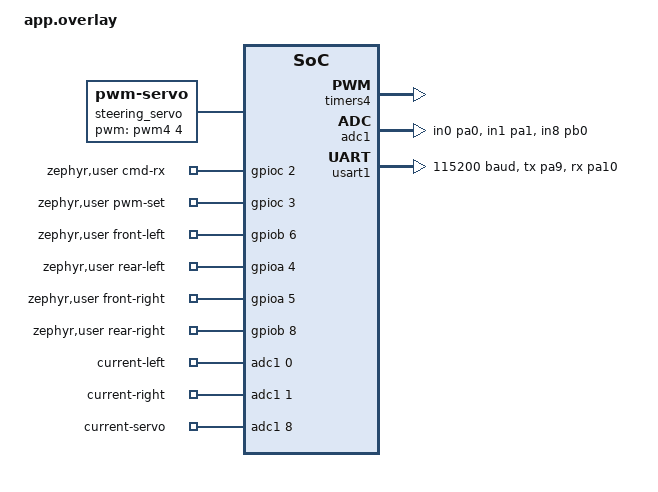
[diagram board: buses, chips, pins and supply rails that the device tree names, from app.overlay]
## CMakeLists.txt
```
cmake_minimum_required(VERSION 3.28.0)
find_package(Zephyr REQUIRED HINTS $ENV{ZEPHYR_BASE})
project(lab2_integration)

# Embed the same tracked calibration used by the optional USB calibration console.
set(servo_calibration "${CMAKE_CURRENT_SOURCE_DIR}/../config/servo_calibration.json")
set_property(DIRECTORY APPEND PROPERTY CMAKE_CONFIGURE_DEPENDS "${servo_calibration}")
file(READ "${servo_calibration}" servo_json)
string(JSON servo_period GET "${servo_json}" period_us)
if(NOT servo_period EQUAL 20000)
    message(FATAL_ERROR "Steering calibration requires a 20000 us period")
endif()
foreach(point LEFT CENTER RIGHT)
    string(TOLOWER "${point}" key)
    string(JSON SERVO_${point}_US GET "${servo_json}" "${key}_us")
    if(NOT "${SERVO_${point}_US}" MATCHES "^[0-9]+$" OR
       SERVO_${point}_US LESS 500 OR SERVO_${point}_US GREATER 2500)
        message(FATAL_ERROR "Invalid ${key} servo calibration pulse")
    endif()
endforeach()
if(NOT ((SERVO_LEFT_US LESS SERVO_CENTER_US AND SERVO_CENTER_US LESS SERVO_RIGHT_US) OR
        (SERVO_LEFT_US GREATER SERVO_CENTER_US AND SERVO_CENTER_US GREATER SERVO_RIGHT_US)))
    message(FATAL_ERROR "Servo center must be strictly between its endpoints")
endif()
configure_file(src/servo_calibration.h.in generated/servo_calibration.h @ONLY)
target_include_directories(app PRIVATE "${CMAKE_CURRENT_BINARY_DIR}/generated")
target_sources(app PRIVATE src/main.c src/throttle_mapping.c src/drive_control.c src/motor_driver.c
    src/actuator_policy.c src/blinker_core.c src/blinker_gpio.c src/self_test.c
    src/servo_core.c src/servo_bench.c
    src/timing_trace.c src/current_cache.c src/current_sense.c src/current_backend.c
    ../bringup/motor_test/src/bench_encoders.c ../bringup/motor_test/src/velocity_control.c)
target_include_directories(app PRIVATE ../bringup/motor_test/src)
```

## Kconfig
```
mainmenu "Lab 2 integrated controller"
source "Kconfig.zephyr"

config LAB_TIMING_GPIO
    bool "CMD_RX and PWM_SET timing markers on PC2/PC3"
    default y
    help
      Reserve Morpho CN7 pins 35 and 37 for scope markers. No actuator wires
      belong on these pins. Disable only if the team reallocates these pins.

config LAB_CURRENT_SAMPLE_MS
    int "Current backend sampling period (ms)"
    default 20
    range 1 1000

config LAB_CURRENT_CHANNEL_MASK
    int "Connected current sensors: left=1, right=2, servo=4"
    default 7
    range 0 7
    help
      The three-sensor setup uses left, right and servo (7). Use 5 for the
      earlier left/servo-only setup. Zero skips acquisition for A/B diagnosis;
      it does not change actuator policy. Missing inputs are unavailable.

config LAB_PERIODIC_DIAGNOSTICS
    bool "Periodic USB diagnostics (disable for a logging isolation test)"
    default y

config LAB_CURRENT_MAX_AGE_MS
    int "Maximum age of a valid current sample (ms)"
    default 100
    range 1 10000
    help
      Telemetry freshness policy, not a motor cutoff. Acquisition time counts
      toward age; stale or failed readings are unavailable in status frames.

menu "ACS712 5A calibration (direct ADC connection)"
comment "Defaults are vendor nominal values, not measured board calibration"

config LAB_CURRENT_LEFT_ZERO_MV
    int "Left zero-current sensor output (mV)"
    default 2500
    range 1 3299

config LAB_CURRENT_RIGHT_ZERO_MV
    int "Right zero-current sensor output (mV)"
    default 2500
    range 1 3299

config LAB_CURRENT_SERVO_ZERO_MV
    int "Servo zero-current sensor output (mV)"
    default 2500
    range 1 3299

config LAB_CURRENT_LEFT_SENSITIVITY
    int "Left sensitivity (mV/A)"
    default 185
    range 1 1000

config LAB_CURRENT_RIGHT_SENSITIVITY
    int "Right sensitivity (mV/A)"
    default 185
    range 1 1000

config LAB_CURRENT_SERVO_SENSITIVITY
    int "Servo sensitivity (mV/A)"
    default 185
    range 1 1000

endmenu
```

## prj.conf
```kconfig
CONFIG_SERIAL=y
CONFIG_UART_INTERRUPT_DRIVEN=y
CONFIG_CONSOLE=y
CONFIG_UART_CONSOLE=y
CONFIG_PRINTK=y
# Console polling remains preemptible; never lock interrupts for a whole line.
CONFIG_PRINTK_SYNC=n
CONFIG_GPIO=y
CONFIG_CRC=y
CONFIG_MAIN_STACK_SIZE=3072
CONFIG_MAIN_THREAD_PRIORITY=1
CONFIG_SYS_CLOCK_TICKS_PER_SEC=1000
CONFIG_ASSERT=y
CONFIG_PWM=y
CONFIG_FPU=y
CONFIG_FPU_SHARING=y
CONFIG_I2C=n
CONFIG_SPI=n
CONFIG_ADC=y
CONFIG_INPUT=n
```

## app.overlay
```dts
/* Reuse the verified motor/encoder pins and 10 kHz timers. Override the bench's
 * disabled USART1 below; USART2 remains the ST-LINK USB diagnostic console. */
#include "../bringup/motor_test/app.overlay"

/* USART1 is the Pi link. USART2 remains the ST-LINK USB console. */
#include <zephyr/dt-bindings/gpio/gpio.h>
#include <zephyr/dt-bindings/pwm/pwm.h>

/ {
    steering_servo: steering-servo {
        compatible = "pwm-servo";
        pwms = <&pwm4 4 PWM_MSEC(20) PWM_POLARITY_NORMAL>;
        min-pulse = <PWM_USEC(500)>;
        max-pulse = <PWM_USEC(2500)>;
    };
    zephyr,user {
        io-channels = <&adc1 0>, <&adc1 1>, <&adc1 8>;
        io-channel-names = "current-left", "current-right", "current-servo";
        cmd-rx-gpios = <&gpioc 2 GPIO_ACTIVE_HIGH>;
        pwm-set-gpios = <&gpioc 3 GPIO_ACTIVE_HIGH>;
        front-left-gpios = <&gpiob 6 GPIO_ACTIVE_HIGH>;
        rear-left-gpios = <&gpioa 4 GPIO_ACTIVE_HIGH>;
        front-right-gpios = <&gpioa 5 GPIO_ACTIVE_HIGH>;
        rear-right-gpios = <&gpiob 8 GPIO_ACTIVE_HIGH>;
    };
};

/* Motor overlay routes TIM2 PWM to PB10, freeing PA5 for the right blinker.
 * Keep pwm2 enabled: disabling it here would remove the right motor driver. */
&i2c1 { status = "disabled"; };
&spi1 { status = "disabled"; };

/* APB1 timer clock 84 MHz / (83 + 1) = 1 MHz: 1 us ticks. */
&timers4 {
    status = "okay";
    st,prescaler = <83>;
    pwm4: pwm {
        status = "okay";
        pinctrl-0 = <&tim4_ch4_pb9>;
        pinctrl-names = "default";
    };
};

/* Direct ACS712 outputs: A0/PA0, A1/PA1, A3/PB0. VDDA is nominally 3.3 V.
 * APB2 is 84 MHz; /4 gives 21 MHz, within the F401 ADC's 36 MHz maximum. */
&adc1 {
    status = "okay";
    pinctrl-0 = <&adc1_in0_pa0 &adc1_in1_pa1 &adc1_in8_pb0>;
    pinctrl-names = "default";
    st,adc-prescaler = <4>;
    vref-mv = <3300>;
};

&usart1 {
    pinctrl-0 = <&usart1_tx_pa9 &usart1_rx_pa10>;
    pinctrl-names = "default";
    current-speed = <115200>;
    status = "okay";
};
```

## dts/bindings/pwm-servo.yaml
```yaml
# Adapted from Zephyr samples/basic/servo_motor/dts/bindings/pwm-servo.yaml
# Copyright (c) 2022 Nordic Semiconductor ASA
# SPDX-License-Identifier: Apache-2.0
description: PWM-driven servo motor.
compatible: "pwm-servo"
include: base.yaml
properties:
  pwms:
    required: true
    type: phandle-array
    description: PWM specifier driving the servo motor.
  min-pulse:
    required: true
    type: int
    description: Manufacturer minimum pulse width in nanoseconds, not calibrated travel.
  max-pulse:
    required: true
    type: int
    description: Manufacturer maximum pulse width in nanoseconds, not calibrated travel.
```

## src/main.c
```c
/* CRC Pi link, encoder/PID motors, blinkers/self-test and centered-start steering. */
#include <zephyr/kernel.h>
#include <zephyr/device.h>
#include <zephyr/drivers/uart.h>
#include <zephyr/drivers/gpio.h>
#include <zephyr/sys/byteorder.h>
#include <zephyr/sys/crc.h>
#include <zephyr/sys/atomic.h>
#include <string.h>
#include <stdint.h>
#include "throttle_mapping.h"
#include "motor_driver.h"
#include "actuator_policy.h"
#include "blinker_core.h"
#include "blinker_gpio.h"
#include "self_test.h"
#include "servo_bench.h"
#include "schedule.h"
#include "timing_trace.h"
#include "current_sense.h"

#define COMMAND_SIZE 28
#define STATUS_SIZE 56
static const char *const state_names[] = {
	"WAITING", "LINK_OK", "ERROR_TIMEOUT", "ERROR_BAD_INPUT", "ERROR_RX_OVERFLOW",
	"ERROR_MOTOR", "SELF_TEST", "ERROR_ACTUATOR"
};
BUILD_ASSERT(CONFIG_MAIN_THREAD_PRIORITY >= 0 &&
             CONFIG_MAIN_THREAD_PRIORITY < LAB_STATUS_PRIORITY &&
             LAB_STATUS_PRIORITY < LAB_CURRENT_PRIORITY &&
             LAB_CURRENT_PRIORITY < LAB_CONSOLE_PRIORITY,
             "Link/motor owner must outrank status and console threads");
BUILD_ASSERT(!IS_ENABLED(CONFIG_PRINTK_SYNC), "Console output must remain interruptible");
static const struct device *const link_uart = DEVICE_DT_GET(DT_NODELABEL(usart1));
/* PA5/D13 (including onboard LD2) belongs only to the front-right blinker. */
static struct blinker blink;
static struct self_test self_test;
struct packet { uint8_t bytes[COMMAND_SIZE]; uint32_t received_ms; };
K_MSGQ_DEFINE(rx_queue, sizeof(struct packet), 8, 4);
K_MUTEX_DEFINE(state_mutex);
K_SEM_DEFINE(status_due, 0, 1);
K_SEM_DEFINE(console_ready, 0, 1);
static atomic_t overflow;
static struct {
	uint32_t state, command_seq, received_ms, rejected;
	int32_t steer, throttle, brake;
	uint32_t buttons, target_mrpm;
	struct motor_report motor;
	bool ever_received;
	bool actuator_fault;
	int servo_error, lamp_error;
	enum blink_mode blink_mode;
	bool blink_left, blink_right;
	uint32_t timeouts, bad_inputs, rx_overflows, max_rx_gap_ms, max_owner_gap_ms;
	uint16_t servo_pulse;
	unsigned servo_mode;
} state = { .state = WAITING, .throttle = 32767, .brake = -32768 };

/* Caller holds state_mutex; all actuator decisions share this policy. */
static struct actuator_policy current_policy(void)
{
	return actuator_policy_evaluate(state.state, state.motor.fault != 0,
		state.actuator_fault, self_test.active, state.brake, state.target_mrpm);
}

static bool header_ok(const uint8_t *b)
{
	return b[0] == 'L' && b[1] == '2' && b[2] == 1 && b[3] == 1;
}

/* ISR only collects fixed-size candidates. CRC/range checks run in main. */
static void rx_callback(const struct device *dev, void *unused)
{
	static struct packet candidate;
	static size_t used;
	uint8_t byte;
	ARG_UNUSED(unused);
	uart_irq_update(dev);
	if (uart_irq_rx_ready(dev) <= 0) {
		return;
	}
	while (uart_fifo_read(dev, &byte, 1) == 1) {
		candidate.bytes[used++] = byte;
		if (used >= 4 && !header_ok(candidate.bytes)) {
			memmove(candidate.bytes, candidate.bytes + 1, --used);
		}
		if (used == COMMAND_SIZE) {
			candidate.received_ms = k_uptime_get_32();
			timing_trace_command(); /* Includes queue delay + validation in scope interval. */
			if (k_msgq_put(&rx_queue, &candidate, K_NO_WAIT) != 0) {
				/* Drop the backlog, never apply queued stale throttle later. */
				k_msgq_purge(&rx_queue);
				atomic_set(&overflow, 1);
			}
			used = 0;
		}
	}
}

static void set_error(uint32_t reason)
{
	if (reason == TIMEOUT && state.state != TIMEOUT) state.timeouts++;
	if (reason == BAD_INPUT) state.bad_inputs++;
	if (reason == RX_OVERFLOW) state.rx_overflows++;
	state.state = reason;
	state.steer = 0;
	state.throttle = 32767; /* Released pedal in this Windows mapping. */
	state.brake = -32768;  /* Link/input errors request dynamic braking. */
	state.buttons = 0;
	state.target_mrpm = 0;
}

static void accept_candidate(const struct packet *p)
{
	const uint8_t *b = p->bytes;
	int32_t steer = (int32_t)sys_get_le32(b + 8);
	int32_t throttle = (int32_t)sys_get_le32(b + 12);
	int32_t brake = (int32_t)sys_get_le32(b + 16);
	uint32_t buttons = sys_get_le32(b + 20);
	uint32_t seq = sys_get_le32(b + 4);
	bool fresh = !lab_link_expired(k_uptime_get_32(), p->received_ms);
	bool valid = crc32_ieee(b, 24) == sys_get_le32(b + 24) &&
		steer >= -32768 && steer <= 32767 &&
		throttle >= -32768 && throttle <= 32767 &&
		brake >= -32768 && brake <= 32767 && (buttons & ~0x7ffU) == 0;

	k_mutex_lock(&state_mutex, K_FOREVER);
	if (!fresh) {
		state.rejected++;
		set_error(TIMEOUT);
	} else if (!valid) {
		state.rejected++;
		set_error(BAD_INPUT);
	} else if (!state.ever_received || state.state != LINK_OK ||
		   (seq - state.command_seq > 0U && seq - state.command_seq < 0x80000000U)) {
		state.steer = steer;
		state.throttle = throttle;
		state.brake = brake;
		state.buttons = buttons;
		/* Any brake input overrides throttle, including its startup request. */
		state.target_mrpm = pedal_target_mrpm(throttle, brake);
		state.command_seq = seq;
		if (state.ever_received) {
			uint32_t gap = p->received_ms - state.received_ms;
			if (gap > state.max_rx_gap_ms) state.max_rx_gap_ms = gap;
		}
		state.received_ms = p->received_ms;
		state.ever_received = true;
		state.state = LINK_OK;
		self_test_input(&self_test, k_uptime_get(), buttons);
	}
	/* Duplicate/old sequences while linked do not refresh the timeout. */
	k_mutex_unlock(&state_mutex);
}

static void status_tick(struct k_timer *timer)
{
	ARG_UNUSED(timer);
	k_sem_give(&status_due);
}
K_TIMER_DEFINE(status_timer, status_tick, NULL);

static void status_thread(void *a, void *b, void *c)
{
	uint32_t seq = 0;
	uint8_t frame[STATUS_SIZE];
	ARG_UNUSED(a); ARG_UNUSED(b); ARG_UNUSED(c);
	while (true) {
		k_sem_take(&status_due, K_FOREVER);
		memset(frame, 0, sizeof(frame));
		frame[0] = 'L'; frame[1] = '2'; frame[2] = 1; frame[3] = 2;
		sys_put_le32(seq++, frame + 4);
		sys_put_le32(k_uptime_get_32(), frame + 8);
		k_mutex_lock(&state_mutex, K_FOREVER);
		sys_put_le32(state.command_seq, frame + 12);
		sys_put_le32(current_policy().reported_state, frame + 16);
		sys_put_le32((uint32_t)state.steer, frame + 20);
		sys_put_le32((uint32_t)state.throttle, frame + 24);
		sys_put_le32((uint32_t)state.brake, frame + 28);
		sys_put_le32(state.rejected, frame + 48);
		k_mutex_unlock(&state_mutex);
		/* Snapshot only: acquisition waits run in a lower-priority thread. */
		struct current_sample currents = current_sense_snapshot();
		for (unsigned i = 0; i < CURRENT_CHANNELS; i++)
			sys_put_le32((uint32_t)currents.ma[i], frame + 32 + 4 * i);
		sys_put_le32(currents.valid_mask, frame + 44);
		sys_put_le32(crc32_ieee(frame, 52), frame + 52);
		for (size_t i = 0; i < sizeof(frame); ++i) {
			uart_poll_out(link_uart, frame[i]);
		}
	}
}
K_THREAD_DEFINE(status_tid, 1536, status_thread, NULL, NULL, NULL, LAB_STATUS_PRIORITY, 0, 0);

static void console_thread(void *a, void *b, void *c)
{
	ARG_UNUSED(a); ARG_UNUSED(b); ARG_UNUSED(c);
	k_sem_take(&console_ready, K_FOREVER);
	printk("LAB2 INTEGRATION: Pi UART PA9/PA10 115200; motors + blinkers + Pi-controlled servo.\n");
	printk("Servo D14 waits for healthy link + centered wheel; no USB required. A=self-test; B1=latch coast.\n");
	printk("1320 counts/rev; 23..300 RPM; startup 60%%/200ms; PID 40..100%%. ACS712 currents active.\n");
	printk("CURRENT direct A0/A1/A3; 12-bit ADC; nominal calibration unless overridden; upper rail -4320mA motors/+4320mA servo.\n");
	printk("TRACE enabled=%u CMD_RX=PC2/CN7-35 PWM_SET=PC3/CN7-37; errors invalidate capture.\n",
	       IS_ENABLED(CONFIG_LAB_TIMING_GPIO));
	int64_t next_diagnostic_ms = 0;
	while (true) {
		servo_bench_print_replies();
		if (!IS_ENABLED(CONFIG_LAB_PERIODIC_DIAGNOSTICS)) {
			k_msleep(LAB_CONSOLE_POLL_MS);
			continue;
		}
		if (k_uptime_get() < next_diagnostic_ms) {
			k_msleep(LAB_CONSOLE_POLL_MS);
			continue;
		}
		next_diagnostic_ms = k_uptime_get() + LAB_DIAGNOSTIC_PERIOD_MS;
		k_mutex_lock(&state_mutex, K_FOREVER);
		uint32_t mode = current_policy().reported_state, seq = state.command_seq, bad = state.rejected;
		uint32_t age = state.ever_received ? k_uptime_get_32() - state.received_ms : 0;
		int32_t steer = state.steer, throttle = state.throttle, brake = state.brake;
		uint32_t target = state.target_mrpm;
		struct motor_report motor = state.motor;
		enum blink_mode blink_mode = state.blink_mode;
		bool left = state.blink_left, right = state.blink_right;
		int servo_error = state.servo_error, lamp_error = state.lamp_error;
		uint32_t timeouts = state.timeouts, bad_inputs = state.bad_inputs;
		uint32_t rx_overflows = state.rx_overflows, rx_gap = state.max_rx_gap_ms;
		uint32_t owner_gap = state.max_owner_gap_ms;
		unsigned servo_mode = state.servo_mode, servo_pulse = state.servo_pulse;
		k_mutex_unlock(&state_mutex);
		printk("STM %s seq=%u steer=%d thr=%d brk=%d target_mrpm=%u age=%ums rejected=%u blink=%s L=%u R=%u\n",
		       state_names[mode], seq, steer, throttle, brake, target, age, bad,
		       blinker_mode_name(blink_mode), left, right);
		printk("DRIVE mode=%u target_mrpm=%u left_mrpm=%d right_mrpm=%d avg_mrpm=%d "
		       "duty_mpercent=%u left_count=%d right_count=%d t_ms=%lld fault=%d\n",
		       (unsigned)motor.mode, motor.target_mrpm, motor.left_mrpm, motor.right_mrpm,
		       motor.average_mrpm, motor.duty_mpercent, motor.left_count, motor.right_count,
		       (long long)motor.sample_ms, motor.fault);
		struct current_sample currents = current_sense_snapshot();
		printk("CURRENT left_ma=%d right_ma=%d servo_ma=%d valid=%u age_ms=%u error=%d\n",
		       currents.ma[0], currents.ma[1], currents.ma[2], currents.valid_mask,
		       k_uptime_get_32() - currents.sampled_ms, currents.error);
		printk("DIAG trace_errors=%u servo_error=%d lamp_error=%d servo_mode=%u pulse_us=%u "
		       "timeouts=%u bad_inputs=%u rx_overflows=%u max_rx_gap_ms=%u max_owner_gap_ms=%u\n",
		       timing_trace_errors(), servo_error, lamp_error, servo_mode, servo_pulse,
		       timeouts, bad_inputs, rx_overflows, rx_gap, owner_gap);
		k_msleep(LAB_CONSOLE_POLL_MS);
	}
}
K_THREAD_DEFINE(console_tid, 1536, console_thread, NULL, NULL, NULL, LAB_CONSOLE_PRIORITY, 0, 0);

/* Returning from main must never leave enabled bridges without a B1 owner. */
static void stop_on_init_failure(void)
{
	struct motor_report report = motor_update((struct drive_input){.sensor_fault = true});
	k_mutex_lock(&state_mutex, K_FOREVER);
	state.motor = report;
	set_error(MOTOR_FAULT);
	k_mutex_unlock(&state_mutex);
}

int main(void)
{
	/* Marker failure is diagnostic only; it must not change actuator policy. */
	(void)timing_trace_init();
	/* Initialize outputs first. Until the first valid command, request braking. */
	int motor_error = motor_init();
	struct motor_report initial = motor_update((struct drive_input){0});
	k_mutex_lock(&state_mutex, K_FOREVER);
	state.motor = initial;
	if (motor_error || initial.fault) { set_error(MOTOR_FAULT); }
	k_mutex_unlock(&state_mutex);
	if (!device_is_ready(link_uart)) {
		stop_on_init_failure();
		printk("ERROR: UART unavailable\n");
		return 1;
	}
	if (blinker_gpio_init() != 0 || servo_bench_init() != 0 ||
	    uart_irq_callback_user_data_set(link_uart, rx_callback, NULL) != 0) {
		stop_on_init_failure();
		servo_bench_off();
		printk("ERROR: device configuration failed\n");
		return 1;
	}
	blinker_reset(&blink);
	self_test_reset(&self_test);
	current_sense_start();
	uart_irq_rx_enable(link_uart);
	k_timer_start(&status_timer, K_MSEC(LAB_STATUS_PERIOD_MS), K_MSEC(LAB_STATUS_PERIOD_MS));
	k_sem_give(&console_ready);
	uint32_t last_owner_ms = k_uptime_get_32();
	while (true) {
		struct packet p;
		if (k_msgq_get(&rx_queue, &p, K_MSEC(LAB_OWNER_WAIT_MS)) == 0) {
			accept_candidate(&p);
		}
		k_mutex_lock(&state_mutex, K_FOREVER);
		uint32_t now_owner_ms = k_uptime_get_32();
		uint32_t owner_gap = now_owner_ms - last_owner_ms;
		last_owner_ms = now_owner_ms;
		if (owner_gap > state.max_owner_gap_ms) state.max_owner_gap_ms = owner_gap;
		if (atomic_set(&overflow, 0) != 0) {
			state.rejected++;
			set_error(RX_OVERFLOW);
		}
		if (state.state == LINK_OK &&
		    lab_link_expired(k_uptime_get_32(), state.received_ms)) {
			set_error(TIMEOUT);
		}
		struct actuator_policy policy = current_policy();
		k_mutex_unlock(&state_mutex);
		/* This priority-1 thread owns validation, timeout and all motor writes.
		 * Apply motor stop decisions before processing potentially slow USB replies. */
		struct motor_report report = motor_update(policy.drive);
		k_mutex_lock(&state_mutex, K_FOREVER);
		state.motor = report;
		policy = current_policy(); /* Propagate a newly sampled B1/motor fault now. */
		int32_t steer = state.steer;
		uint32_t buttons = state.buttons;
		bool actuator_fault = state.actuator_fault;
		k_mutex_unlock(&state_mutex);
		int servo_error = 0;
		if (!actuator_fault) {
			servo_error = servo_bench_service(policy.linked, policy.inhibit_servo, steer);
		}
		struct blink_output output = blinker_step(&blink, k_uptime_get(),
			policy.linked, policy.hazards || servo_error != 0, buttons, steer);
		int lamp_error = blinker_gpio_write(output);
		if (servo_error || lamp_error) {
			/* Latch peripheral failures. A healthy H-bridge dynamically brakes;
			 * its own B1/HAL fault still retains the existing enable-low policy. */
			servo_bench_off();
			k_mutex_lock(&state_mutex, K_FOREVER);
			state.actuator_fault = true;
			state.servo_error = servo_error;
			state.lamp_error = lamp_error;
			policy = current_policy();
			k_mutex_unlock(&state_mutex);
			report = motor_update(policy.drive);
		}
		k_mutex_lock(&state_mutex, K_FOREVER);
		state.motor = report;
		state.blink_mode = blink.mode;
		struct servo_control servo_snapshot = servo_bench_snapshot();
		state.servo_mode = servo_snapshot.mode;
		state.servo_pulse = servo_snapshot.pulse;
		state.blink_left = output.left;
		state.blink_right = output.right;
		k_mutex_unlock(&state_mutex);
	}
}
```

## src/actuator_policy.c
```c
#include "actuator_policy.h"

struct actuator_policy actuator_policy_evaluate(enum vehicle_state link_state,
    bool motor_fault, bool actuator_fault, bool self_test, int32_t brake,
    uint32_t target_mrpm)
{
    bool linked = link_state == LINK_OK && !motor_fault && !actuator_fault;
    return (struct actuator_policy){
        .reported_state = motor_fault ? MOTOR_FAULT : actuator_fault ? ACTUATOR_FAULT :
            link_state != LINK_OK ? link_state : self_test ? SELF_TEST : LINK_OK,
        .drive = {
            .linked = linked,
            .brake = self_test || brake != 32767,
            .target_mrpm = linked && !self_test && brake == 32767 ? target_mrpm : 0,
        },
        .linked = linked,
        /* Manual bench calibration can still run without a Pi; LIVE cannot. */
        .inhibit_servo = motor_fault || actuator_fault || self_test,
        .hazards = !linked || self_test,
    };
}
```

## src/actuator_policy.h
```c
#ifndef ACTUATOR_POLICY_H
#define ACTUATOR_POLICY_H
#include "drive_control.h"

/* Preserve main's wire values; the steering bench previously used 5 for self-test. */
enum vehicle_state {
    WAITING = 0, LINK_OK = 1, TIMEOUT = 2, BAD_INPUT = 3, RX_OVERFLOW = 4,
    MOTOR_FAULT = 5, SELF_TEST = 6, ACTUATOR_FAULT = 7
};

struct actuator_policy {
    enum vehicle_state reported_state;
    struct drive_input drive;
    bool linked;
    bool inhibit_servo;
    bool hazards;
};

struct actuator_policy actuator_policy_evaluate(enum vehicle_state link_state,
    bool motor_fault, bool actuator_fault, bool self_test, int32_t brake,
    uint32_t target_mrpm);
#endif
```

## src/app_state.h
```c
#ifndef APP_STATE_H
#define APP_STATE_H

#include <stdint.h>
#include <stdbool.h>

/* Shared state between UART reception and the control tasks.
 * TODO: replace this simple example with a Zephyr mutex/message queue if
 * multiple fields can be updated/read concurrently on your final design. */
typedef struct {
    int16_t steering;
    int16_t throttle;
    int16_t brake;
    uint32_t buttons;
    uint16_t sequence;
    bool valid;
} command_state_t;

typedef enum {
    SYSTEM_ERROR = 0,
    SYSTEM_NORMAL = 1,
} system_state_t;

#endif
```

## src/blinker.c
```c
#include "blinker.h"
#include <zephyr/kernel.h>
#include <zephyr/drivers/gpio.h>

/* TODO: Replace aliases with your four LED GPIOs. */
static const struct gpio_dt_spec fl = GPIO_DT_SPEC_GET(DT_ALIAS(blinker_fl), gpios);
static const struct gpio_dt_spec fr = GPIO_DT_SPEC_GET(DT_ALIAS(blinker_fr), gpios);
static const struct gpio_dt_spec rl = GPIO_DT_SPEC_GET(DT_ALIAS(blinker_rl), gpios);
static const struct gpio_dt_spec rr = GPIO_DT_SPEC_GET(DT_ALIAS(blinker_rr), gpios);

/* TODO: Replace with the button indices recorded in Part 1. */
#define LEFT_BUTTON 0
#define RIGHT_BUTTON 1
/* TODO: Use your team-defined steering turn threshold. */
#define TURN_THRESHOLD 30

static enum { OFF, LEFT, RIGHT } active = OFF;
static int crossed_threshold;
static int last_steering;
static uint32_t last_buttons;
static bool phase;
static int64_t last_toggle_ms;

static void outputs(bool left_on, bool right_on) {
    gpio_pin_set_dt(&fl, left_on); gpio_pin_set_dt(&rl, left_on);
    gpio_pin_set_dt(&fr, right_on); gpio_pin_set_dt(&rr, right_on);
}

void blinker_init(void) {
    gpio_pin_configure_dt(&fl, GPIO_OUTPUT_INACTIVE); gpio_pin_configure_dt(&fr, GPIO_OUTPUT_INACTIVE);
    gpio_pin_configure_dt(&rl, GPIO_OUTPUT_INACTIVE); gpio_pin_configure_dt(&rr, GPIO_OUTPUT_INACTIVE);
    outputs(false, false);
    last_toggle_ms = k_uptime_get();
}

void blinker_update(int16_t steering, uint32_t buttons, int error_state) {
    int64_t now = k_uptime_get();
    if (error_state) {
        /* Error state: all four flash at 2 Hz, 50% duty. */
        if (now - last_toggle_ms >= 250) { phase = !phase; last_toggle_ms = now; }
        outputs(phase, phase);
        return;
    }

    bool left_pressed = (buttons & (1u << LEFT_BUTTON)) && !(last_buttons & (1u << LEFT_BUTTON));
    bool right_pressed = (buttons & (1u << RIGHT_BUTTON)) && !(last_buttons & (1u << RIGHT_BUTTON));
    if (left_pressed) active = LEFT;
    if (right_pressed) active = RIGHT;
    if (left_pressed && right_pressed) active = OFF;

    /* Self-cancel: pass the turn threshold, then return back past it. */
    if (active == LEFT && steering < -TURN_THRESHOLD) crossed_threshold = 1;
    if (active == RIGHT && steering > TURN_THRESHOLD) crossed_threshold = 1;
    if (active == LEFT && crossed_threshold && steering >= -TURN_THRESHOLD) { active = OFF; crossed_threshold = 0; }
    if (active == RIGHT && crossed_threshold && steering <= TURN_THRESHOLD) { active = OFF; crossed_threshold = 0; }

    /* Normal blinkers: 1 Hz, 50% duty => toggle every 500 ms. */
    if (now - last_toggle_ms >= 500) { phase = !phase; last_toggle_ms = now; }
    outputs(active == LEFT && phase, active == RIGHT && phase);
    last_steering = steering;
    last_buttons = buttons;
}
```

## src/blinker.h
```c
#ifndef BLINKER_H
#define BLINKER_H
#include <stdint.h>
void blinker_init(void);
void blinker_update(int16_t steering, uint32_t buttons, int error_state);
#endif
```

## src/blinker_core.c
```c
#include "blinker_core.h"

void blinker_reset(struct blinker *b)
{
	*b = (struct blinker){0};
}

static void select_mode(struct blinker *b, enum blink_mode mode, uint64_t now)
{
	b->mode = mode;
	b->epoch_ms = now;
	b->crossed_turn = false;
}

struct blink_output blinker_step(struct blinker *b, uint64_t now,
	bool ready, bool fault, uint32_t buttons, int32_t steer)
{
	uint32_t mask = BLINK_LEFT_BUTTON | BLINK_RIGHT_BUTTON;
	buttons &= mask;
	uint32_t pressed = buttons & ~b->previous_buttons;
	b->previous_buttons = buttons;

	if (fault) {
		if (b->mode != BLINK_HAZARD) {
			select_mode(b, BLINK_HAZARD, now);
		}
		b->recovering = true;
	} else if (!ready) {
		select_mode(b, BLINK_OFF, now);
	} else if (b->recovering) {
		/* A held paddle on recovery is not a new turn request. */
		select_mode(b, BLINK_OFF, now);
		b->recovering = false;
	} else {
		if (pressed == mask) {
			/* Two new presses in one frame cancel. Otherwise newest press wins. */
			select_mode(b, BLINK_OFF, now);
		} else if (pressed & BLINK_LEFT_BUTTON) {
			select_mode(b, b->mode == BLINK_LEFT ? BLINK_OFF : BLINK_LEFT, now);
		} else if (pressed & BLINK_RIGHT_BUTTON) {
			select_mode(b, b->mode == BLINK_RIGHT ? BLINK_OFF : BLINK_RIGHT, now);
		}

		if (b->mode == BLINK_LEFT) {
			if (steer <= -BLINK_TURN_RAW) { b->crossed_turn = true; }
			if (b->crossed_turn && steer >= -BLINK_RETURN_RAW) {
				select_mode(b, BLINK_OFF, now);
			}
		} else if (b->mode == BLINK_RIGHT) {
			if (steer >= BLINK_TURN_RAW) { b->crossed_turn = true; }
			if (b->crossed_turn && steer <= BLINK_RETURN_RAW) {
				select_mode(b, BLINK_OFF, now);
			}
		}
	}

	/* Absolute phase: late calls do not shift subsequent blink deadlines. */
	uint64_t half_period = b->mode == BLINK_HAZARD ? 250U : 500U;
	bool on = ((now - b->epoch_ms) / half_period) % 2U == 0;
	return (struct blink_output){
		.left = on && (b->mode == BLINK_LEFT || b->mode == BLINK_HAZARD),
		.right = on && (b->mode == BLINK_RIGHT || b->mode == BLINK_HAZARD),
	};
}

const char *blinker_mode_name(enum blink_mode mode)
{
	switch (mode) {
	case BLINK_LEFT: return "LEFT";
	case BLINK_RIGHT: return "RIGHT";
	case BLINK_HAZARD: return "HAZARD";
	default: return "OFF";
	}
}
```

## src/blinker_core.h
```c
#ifndef LAB2_BLINKER_CORE_H
#define LAB2_BLINKER_CORE_H

#include <stdbool.h>
#include <stdint.h>

#define BLINK_LEFT_BUTTON (1U << 5)
#define BLINK_RIGHT_BUTTON (1U << 4)
#define BLINK_TURN_RAW 8000
#define BLINK_RETURN_RAW 6000

enum blink_mode { BLINK_OFF, BLINK_LEFT, BLINK_RIGHT, BLINK_HAZARD };
struct blinker {
	enum blink_mode mode;
	uint32_t previous_buttons;
	uint64_t epoch_ms;
	bool crossed_turn;
	bool recovering;
};
struct blink_output { bool left, right; };

/* One owner calls these functions. Time must be monotonic milliseconds. */
void blinker_reset(struct blinker *b);
struct blink_output blinker_step(struct blinker *b, uint64_t now_ms,
	bool ready, bool fault, uint32_t buttons, int32_t steering_raw);
const char *blinker_mode_name(enum blink_mode mode);

#endif
```

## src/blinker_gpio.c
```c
#include "blinker_gpio.h"
#include <zephyr/kernel.h>
#include <zephyr/drivers/gpio.h>
#include <errno.h>

#define USER DT_PATH(zephyr_user)
static const struct gpio_dt_spec lamps[] = {
	GPIO_DT_SPEC_GET(USER, front_left_gpios),
	GPIO_DT_SPEC_GET(USER, rear_left_gpios),
	GPIO_DT_SPEC_GET(USER, front_right_gpios),
	GPIO_DT_SPEC_GET(USER, rear_right_gpios),
};
static struct blink_output previous;
static bool have_previous;

int blinker_gpio_init(void)
{
	for (size_t i = 0; i < ARRAY_SIZE(lamps); ++i) {
		if (!gpio_is_ready_dt(&lamps[i])) { return -ENODEV; }
		int rc = gpio_pin_configure_dt(&lamps[i], GPIO_OUTPUT_INACTIVE);
		if (rc != 0) { return rc; }
	}
	have_previous = false;
	return 0;
}

int blinker_gpio_write(struct blink_output output)
{
	if (have_previous && previous.left == output.left && previous.right == output.right) {
		return 0;
	}
	/* Four on-chip writes, with no thread preemption between front/rear.
	 * Interrupts remain enabled; actual skew still requires measurement. */
	int rc = 0;
	k_sched_lock();
	for (size_t i = 0; i < ARRAY_SIZE(lamps); ++i) {
		int result = gpio_pin_set_dt(&lamps[i], i < 2 ? output.left : output.right);
		if (result != 0 && rc == 0) { rc = result; }
	}
	k_sched_unlock();
	if (rc == 0) { previous = output; have_previous = true; }
	return rc;
}
```

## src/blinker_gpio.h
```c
#ifndef LAB2_BLINKER_GPIO_H
#define LAB2_BLINKER_GPIO_H
#include "blinker_core.h"
int blinker_gpio_init(void);
int blinker_gpio_write(struct blink_output output);
#endif
```

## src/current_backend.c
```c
#include "current_sense.h"
#include <zephyr/drivers/adc.h>
#include <errno.h>

static const struct device *const adc = DEVICE_DT_GET(DT_NODELABEL(adc1));
/* Status order: PA0, PA1, PB0. */
static const uint8_t channels[CURRENT_CHANNELS] = {0, 1, 8};
static const int32_t zero_mv[CURRENT_CHANNELS] = {
    CONFIG_LAB_CURRENT_LEFT_ZERO_MV, CONFIG_LAB_CURRENT_RIGHT_ZERO_MV,
    CONFIG_LAB_CURRENT_SERVO_ZERO_MV,
};
static const int32_t sensitivity[CURRENT_CHANNELS] = {
    CONFIG_LAB_CURRENT_LEFT_SENSITIVITY, CONFIG_LAB_CURRENT_RIGHT_SENSITIVITY,
    CONFIG_LAB_CURRENT_SERVO_SENSITIVITY,
};
/* Called only by the current workqueue. Acquire actual ADC samples, then apply
 * configured nominal/bench calibration. No actuator policy or shared lock here. */
int current_backend_read(int32_t ma[3], uint32_t *valid_mask)
{
    static bool configured;
    for (unsigned i = 0; i < CURRENT_CHANNELS; i++) ma[i] = CURRENT_UNAVAILABLE;
    *valid_mask = 0;
    if (!CONFIG_LAB_CURRENT_CHANNEL_MASK) return 0;
    if (!device_is_ready(adc)) return -ENODEV;
    if (!configured) {
        for (unsigned i = 0; i < CURRENT_CHANNELS; i++) {
            if (!(CONFIG_LAB_CURRENT_CHANNEL_MASK & (1U << i))) continue;
            const struct adc_channel_cfg config = {
                .gain = ADC_GAIN_1,
                .reference = ADC_REF_INTERNAL, /* STM32 driver uses VDDA. */
                .acquisition_time = ADC_ACQ_TIME(ADC_ACQ_TIME_TICKS, 480),
                .channel_id = channels[i],
            };
            int error = adc_channel_setup(adc, &config);
            if (error) return error;
        }
        configured = true;
    }
    /* One channel per sequence: the non-DMA STM32 driver must consume each
     * conversion before starting the next. Multi-channel scans can overrun
     * during ISR latency and leave adc_read waiting forever for a lost sample.
     * Keep eight samples per channel and no cross-period filter state. */
    enum { SCANS = 8 };
    int16_t raw[CURRENT_CHANNELS][SCANS];
    const struct adc_sequence_options options = {.extra_samplings = SCANS - 1};
    for (unsigned i = 0; i < CURRENT_CHANNELS; i++) {
        if (!(CONFIG_LAB_CURRENT_CHANNEL_MASK & (1U << i))) continue;
        const struct adc_sequence sequence = {
            .options = &options,
            .channels = 1U << channels[i],
            .buffer = raw[i],
            .buffer_size = sizeof(raw[i]),
            .resolution = 12,
        };
        int error = adc_read(adc, &sequence);
        if (error) return error;
    }
    for (unsigned i = 0; i < CURRENT_CHANNELS; i++) {
        if (!(CONFIG_LAB_CURRENT_CHANNEL_MASK & (1U << i))) continue;
        int32_t sum = 0;
        bool clipped = false;
        for (unsigned scan = 0; scan < SCANS; scan++) {
            sum += raw[i][scan];
            clipped |= raw[i][scan] == 4095;
        }
        int64_t uv = (int64_t)sum * DT_PROP(DT_NODELABEL(adc1), vref_mv) * 1000 /
                     (4096 * SCANS);
        /* The two motor sensors are wired opposite to the servo sensor.
         * Reverse the voltage slope around zero, never the raw ADC code. */
        bool motor = i < 2;
        int64_t delta_uv = motor ? zero_mv[i] * 1000 - uv : uv - zero_mv[i] * 1000;
        int32_t value = (delta_uv + (delta_uv >= 0 ? sensitivity[i] / 2 : -sensitivity[i] / 2)) /
                        sensitivity[i];
        /* Only rising sensor voltage reaches the 3.3 V upper rail. Preserve
         * its signed endpoint; falling voltage has no 4.32 A reporting cap.
         * A rail clip is not an exact measurement and never a motor cutoff. */
        int32_t endpoint = motor ? -CURRENT_REPORT_MAX_MA : CURRENT_REPORT_MAX_MA;
        bool above_voltage_range = motor ? value < endpoint : value > endpoint;
        ma[i] = clipped || above_voltage_range ? endpoint : value;
        *valid_mask |= 1U << i;
    }
    return 0;
}
```

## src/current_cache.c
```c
#include "current_cache.h"
void current_cache_publish(struct current_sample *cache, const int32_t ma[3],
                           uint32_t valid_mask, uint32_t sampled_ms)
{
    cache->error = 0;
    cache->valid_mask = valid_mask & 7U;
    cache->sampled_ms = sampled_ms;
    for (unsigned i = 0; i < CURRENT_CHANNELS; i++) {
        if (ma[i] == CURRENT_UNAVAILABLE) cache->valid_mask &= ~(1U << i);
        cache->ma[i] = cache->valid_mask & (1U << i) ? ma[i] : CURRENT_UNAVAILABLE;
    }
}
struct current_sample current_cache_snapshot(const struct current_sample *cache,
                                            uint32_t now_ms, uint32_t max_age_ms)
{
    struct current_sample result = *cache;
    if ((uint32_t)(now_ms - cache->sampled_ms) >= max_age_ms) result.valid_mask = 0;
    for (unsigned i = 0; i < CURRENT_CHANNELS; i++)
        if (!(result.valid_mask & (1U << i))) result.ma[i] = CURRENT_UNAVAILABLE;
    return result;
}
```

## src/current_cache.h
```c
#ifndef LAB_CURRENT_CACHE_H
#define LAB_CURRENT_CACHE_H
#include <stdint.h>
#define CURRENT_CHANNELS 3
#define CURRENT_REPORT_MAX_MA 4320
#define CURRENT_UNAVAILABLE INT32_MIN
/* Channel order: left motor, right motor, servo. */
struct current_sample {
    int32_t ma[CURRENT_CHANNELS];
    uint32_t valid_mask, sampled_ms;
    int error; /* Backend errno for USB diagnostics; not a motor fault. */
};
void current_cache_publish(struct current_sample *cache, const int32_t ma[3],
                           uint32_t valid_mask, uint32_t sampled_ms);
struct current_sample current_cache_snapshot(const struct current_sample *cache,
                                            uint32_t now_ms, uint32_t max_age_ms);
#endif
```
